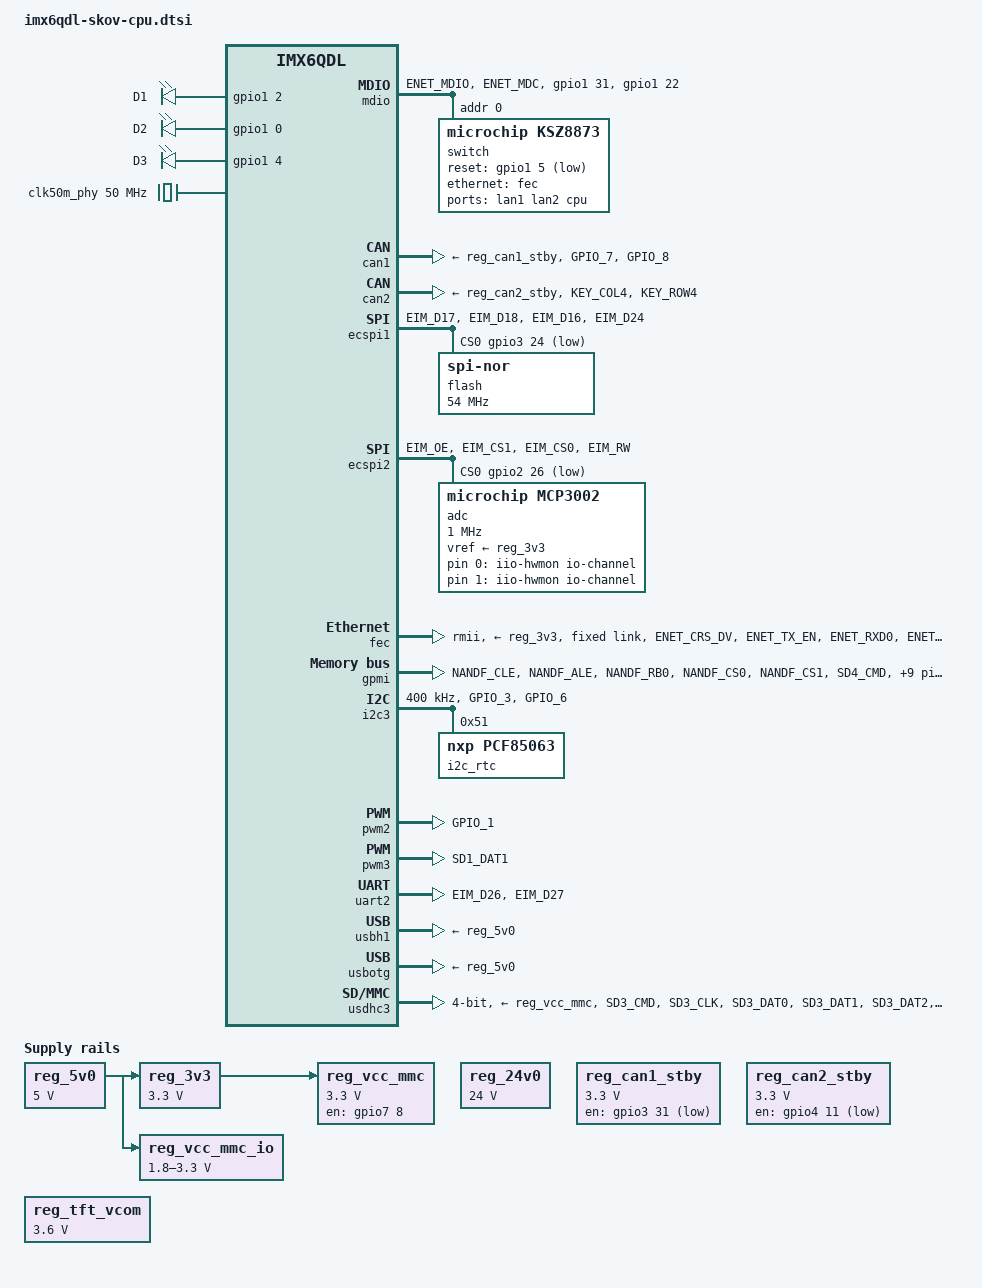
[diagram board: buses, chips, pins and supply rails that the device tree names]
// SPDX-License-Identifier: (GPL-2.0 OR MIT)
//
// Copyright (C) 2020 Pengutronix, Ulrich Oelmann <kernel@pengutronix.de>

#include <dt-bindings/gpio/gpio.h>
#include <dt-bindings/leds/common.h>

/ {
	chosen {
		stdout-path = &uart2;
	};

	aliases {
		can0 = &can1;
		can1 = &can2;
		mdio-gpio0 = &mdio;
		nand = &gpmi;
		rtc0 = &i2c_rtc;
		rtc1 = &snvs;
		usb0 = &usbh1;
		usb1 = &usbotg;
	};

	iio-hwmon {
		compatible = "iio-hwmon";
		io-channels = <&adc 0>, /* 24V */
		              <&adc 1>; /* temperature */
	};

	leds {
		compatible = "gpio-leds";

		led-0 {
			label = "D1";
			gpios = <&gpio1 2 GPIO_ACTIVE_HIGH>;
			function = LED_FUNCTION_STATUS;
			default-state = "on";
			linux,default-trigger = "heartbeat";
		};

		led-1 {
			label = "D2";
			gpios = <&gpio1 0 GPIO_ACTIVE_HIGH>;
			default-state = "off";
		};

		led-2 {
			label = "D3";
			gpios = <&gpio1 4 GPIO_ACTIVE_HIGH>;
			default-state = "on";
		};
	};

	mdio: mdio {
		compatible = "microchip,mdio-smi0";
		pinctrl-names = "default";
		pinctrl-0 = <&pinctrl_mdio>;
		#address-cells = <1>;
		#size-cells = <0>;
		gpios = <&gpio1 31 GPIO_ACTIVE_HIGH>,
			<&gpio1 22 GPIO_ACTIVE_HIGH>;

		switch@0 {
			compatible = "microchip,ksz8873";
			pinctrl-names = "default";
			pinctrl-0 = <&pinctrl_switch>;
			interrupt-parent = <&gpio3>;
			interrupt = <30 IRQ_TYPE_LEVEL_HIGH>;
			reset-gpios = <&gpio1 5 GPIO_ACTIVE_LOW>;
			reg = <0>;

			ports {
				#address-cells = <1>;
				#size-cells = <0>;

				ports@0 {
					reg = <0>;
					phy-mode = "internal";
					label = "lan1";
				};

				ports@1 {
					reg = <1>;
					phy-mode = "internal";
					label = "lan2";
				};

				ports@2 {
					reg = <2>;
					label = "cpu";
					ethernet = <&fec>;
					phy-mode = "rmii";

					fixed-link {
						speed = <100>;
						full-duplex;
					};
				};
			};
		};

	};

	clk50m_phy: phy-clock {
		compatible = "fixed-clock";
		#clock-cells = <0>;
		clock-frequency = <50000000>;
		clock-output-names = "enet_ref_pad";
	};

	reg_3v3: regulator-3v3 {
		compatible = "regulator-fixed";
		vin-supply = <&reg_5v0>;
		regulator-name = "3v3";
		regulator-min-microvolt = <3300000>;
		regulator-max-microvolt = <3300000>;
	};

	reg_5v0: regulator-5v0 {
		compatible = "regulator-fixed";
		regulator-name = "5v0";
		regulator-min-microvolt = <5000000>;
		regulator-max-microvolt = <5000000>;
	};

	reg_24v0: regulator-24v0 {
		compatible = "regulator-fixed";
		regulator-name = "24v0";
		regulator-min-microvolt = <24000000>;
		regulator-max-microvolt = <24000000>;
	};

	reg_can1_stby: regulator-can1-stby {
		compatible = "regulator-fixed";
		pinctrl-names = "default";
		pinctrl-0 = <&pinctrl_can1_stby>;
		regulator-name = "can1-3v3";
		regulator-min-microvolt = <3300000>;
		regulator-max-microvolt = <3300000>;
		gpio = <&gpio3 31 GPIO_ACTIVE_LOW>;
	};

	reg_can2_stby: regulator-can2-stby {
		compatible = "regulator-fixed";
		pinctrl-names = "default";
		pinctrl-0 = <&pinctrl_can2_stby>;
		regulator-name = "can2-3v3";
		regulator-min-microvolt = <3300000>;
		regulator-max-microvolt = <3300000>;
		gpio = <&gpio4 11 GPIO_ACTIVE_LOW>;
	};

	reg_tft_vcom: regulator-tft-vcom {
		compatible = "pwm-regulator";
		pwms = <&pwm3 0 20000 0>;
		regulator-name = "tft_vcom";
		regulator-min-microvolt = <3600000>;
		regulator-max-microvolt = <3600000>;
		regulator-always-on;
		voltage-table = <3600000 26>;
	};

	reg_vcc_mmc: regulator-vcc-mmc {
		compatible = "regulator-fixed";
		pinctrl-names = "default";
		pinctrl-0 = <&pinctrl_vcc_mmc>;
		vin-supply = <&reg_3v3>;
		regulator-name = "mmc_vcc_supply";
		regulator-min-microvolt = <3300000>;
		regulator-max-microvolt = <3300000>;
		regulator-always-on;
		regulator-boot-on;
		gpio = <&gpio7 8 GPIO_ACTIVE_HIGH>;
		enable-active-high;
		startup-delay-us = <100>;
	};

	reg_vcc_mmc_io: regulator-vcc-mmc-io {
		compatible = "regulator-gpio";
		pinctrl-names = "default";
		pinctrl-0 = <&pinctrl_vcc_mmc_io>;
		vin-supply = <&reg_5v0>;
		regulator-name = "mmc_io_supply";
		regulator-type = "voltage";
		regulator-min-microvolt = <1800000>;
		regulator-max-microvolt = <3300000>;
		gpios = <&gpio7 13 GPIO_ACTIVE_HIGH>;
		enable-active-high;
		states = <1800000 0x1>, <3300000 0x0>;
		startup-delay-us = <100>;
	};
};

&can1 {
	pinctrl-names = "default";
	pinctrl-0 = <&pinctrl_can1>;
	xceiver-supply = <&reg_can1_stby>;
	status = "okay";
};

&can2 {
	pinctrl-names = "default";
	pinctrl-0 = <&pinctrl_can2>;
	xceiver-supply = <&reg_can2_stby>;
	status = "okay";
};

&ecspi1 {
	pinctrl-names = "default";
	pinctrl-0 = <&pinctrl_ecspi1>;
	cs-gpios = <&gpio3 24 GPIO_ACTIVE_LOW>;
	status = "okay";

	flash@0 {
		compatible = "jedec,spi-nor";
		spi-max-frequency = <54000000>;
		reg = <0>;
	};
};

&ecspi2 {
	pinctrl-names = "default";
	pinctrl-0 = <&pinctrl_ecspi2>;
	cs-gpios = <&gpio2 26 GPIO_ACTIVE_LOW>;
	status = "okay";

	adc: adc@0 {
		compatible = "microchip,mcp3002";
		reg = <0>;
		vref-supply = <&reg_3v3>;
		spi-max-frequency = <1000000>;
		#io-channel-cells = <1>;
	};
};

&clks {
	clocks = <&clk50m_phy>;
	clock-names = "enet_ref_pad";
	assigned-clocks = <&clks IMX6QDL_CLK_ENET_REF_SEL>;
	assigned-clock-parents = <&clk50m_phy>;
};

&fec {
	pinctrl-names = "default";
	pinctrl-0 = <&pinctrl_enet>;
	phy-mode = "rmii";
	phy-supply = <&reg_3v3>;
	status = "okay";

	fixed-link {
		speed = <100>;
		full-duplex;
	};
};

&gpmi {
	pinctrl-names = "default";
	pinctrl-0 = <&pinctrl_gpmi_nand>;
	nand-on-flash-bbt;
	#address-cells = <1>;
	#size-cells = <0>;
	status = "okay";
};

&i2c3 {
	pinctrl-names = "default";
	pinctrl-0 = <&pinctrl_i2c3>;
	clock-frequency = <400000>;
	status = "okay";

	i2c_rtc: rtc@51 {
		compatible = "nxp,pcf85063";
		reg = <0x51>;
		quartz-load-femtofarads = <12500>;
	};
};

&pwm2 {
	pinctrl-names = "default";
	pinctrl-0 = <&pinctrl_pwm2>;
	#pwm-cells = <2>;
	status = "okay";
};

&pwm3 {
	/* used for LCD contrast control */
	pinctrl-names = "default";
	pinctrl-0 = <&pinctrl_pwm3>;
	status = "okay";
};

&uart2 {
	pinctrl-names = "default";
	pinctrl-0 = <&pinctrl_uart2>;
	status = "okay";
};

&usbh1 {
	vbus-supply = <&reg_5v0>;
	disable-over-current;
	status = "okay";
};

/* no usbh2 */
&usbphynop1 {
	status = "disabled";
};

/* no usbh3 */
&usbphynop2 {
	status = "disabled";
};

&usbotg {
	vbus-supply = <&reg_5v0>;
	disable-over-current;
	status = "okay";
};

&usdhc3 {
	pinctrl-names = "default";
	pinctrl-0 = <&pinctrl_usdhc3>;
	wp-gpios = <&gpio7 1 GPIO_ACTIVE_HIGH>;
	cd-gpios = <&gpio7 0 GPIO_ACTIVE_LOW>;
	cap-power-off-card;
	full-pwr-cycle;
	bus-width = <4>;
	max-frequency = <50000000>;
	cap-sd-highspeed;
	sd-uhs-sdr12;
	sd-uhs-sdr25;
	sd-uhs-sdr50;
	sd-uhs-ddr50;
	mmc-ddr-1_8v;
	vmmc-supply = <&reg_vcc_mmc>;
	vqmmc-supply = <&reg_vcc_mmc_io>;
	status = "okay";
};

&iomuxc {
	pinctrl_can1: can1grp {
		fsl,pins = <
			MX6QDL_PAD_GPIO_7__FLEXCAN1_TX			0x3008
			MX6QDL_PAD_GPIO_8__FLEXCAN1_RX			0x1b000
		>;
	};

	pinctrl_can1_stby: can1stbygrp {
		fsl,pins = <
			MX6QDL_PAD_EIM_D31__GPIO3_IO31			0x13008
		>;
	};

	pinctrl_can2: can2grp {
		fsl,pins = <
			MX6QDL_PAD_KEY_COL4__FLEXCAN2_TX		0x3008
			MX6QDL_PAD_KEY_ROW4__FLEXCAN2_RX		0x1b000
		>;
	};

	pinctrl_can2_stby: can2stbygrp {
		fsl,pins = <
			MX6QDL_PAD_KEY_ROW2__GPIO4_IO11			0x13008
		>;
	};

	pinctrl_ecspi1: ecspi1grp {
		fsl,pins = <
			MX6QDL_PAD_EIM_D17__ECSPI1_MISO			0x100b1
			MX6QDL_PAD_EIM_D18__ECSPI1_MOSI			0xb1
			MX6QDL_PAD_EIM_D16__ECSPI1_SCLK			0xb1
			/* *no* external pull up */
			MX6QDL_PAD_EIM_D24__GPIO3_IO24			0x58
		>;
	};

	pinctrl_ecspi2: ecspi2grp {
		fsl,pins = <
			MX6QDL_PAD_EIM_OE__ECSPI2_MISO			0x100b1
			MX6QDL_PAD_EIM_CS1__ECSPI2_MOSI			0xb1
			MX6QDL_PAD_EIM_CS0__ECSPI2_SCLK			0xb1
			/* external pull up */
			MX6QDL_PAD_EIM_RW__GPIO2_IO26			0x58
		>;
	};

	pinctrl_enet: enetgrp {
		fsl,pins = <
			/* RMII 50 MHz */
			MX6QDL_PAD_ENET_CRS_DV__ENET_RX_EN		0x100f5
			MX6QDL_PAD_ENET_TX_EN__ENET_TX_EN		0x100f5
			MX6QDL_PAD_ENET_RXD0__ENET_RX_DATA0		0x100c0
			MX6QDL_PAD_ENET_RXD1__ENET_RX_DATA1		0x100c0
			MX6QDL_PAD_ENET_TXD0__ENET_TX_DATA0		0x100f5
			MX6QDL_PAD_ENET_TXD1__ENET_TX_DATA1		0x100f5
			MX6QDL_PAD_GPIO_16__ENET_REF_CLK		0x1b0b0
			MX6QDL_PAD_GPIO_5__GPIO1_IO05			0x58
			/* GPIO for "link active" */
			MX6QDL_PAD_ENET_RX_ER__GPIO1_IO24		0x3038
		>;
	};

	pinctrl_gpmi_nand: gpminandgrp {
		fsl,pins = <
			MX6QDL_PAD_NANDF_CLE__NAND_CLE			0xb0b1
			MX6QDL_PAD_NANDF_ALE__NAND_ALE			0xb0b1
			MX6QDL_PAD_NANDF_RB0__NAND_READY_B		0xb000
			MX6QDL_PAD_NANDF_CS0__NAND_CE0_B		0xb0b1
			MX6QDL_PAD_NANDF_CS1__NAND_CE1_B		0xb0b1
			MX6QDL_PAD_SD4_CMD__NAND_RE_B			0xb0b1
			MX6QDL_PAD_SD4_CLK__NAND_WE_B			0xb0b1
			MX6QDL_PAD_NANDF_D0__NAND_DATA00		0xb0b1
			MX6QDL_PAD_NANDF_D1__NAND_DATA01		0xb0b1
			MX6QDL_PAD_NANDF_D2__NAND_DATA02		0xb0b1
			MX6QDL_PAD_NANDF_D3__NAND_DATA03		0xb0b1
			MX6QDL_PAD_NANDF_D4__NAND_DATA04		0xb0b1
			MX6QDL_PAD_NANDF_D5__NAND_DATA05		0xb0b1
			MX6QDL_PAD_NANDF_D6__NAND_DATA06		0xb0b1
			MX6QDL_PAD_NANDF_D7__NAND_DATA07		0xb0b1
		>;
	};

	pinctrl_i2c3: i2c3grp {
		fsl,pins = <
			/* external 10 k pull up */
			MX6QDL_PAD_GPIO_3__I2C3_SCL		0x40010878
			/* external 10 k pull up */
			MX6QDL_PAD_GPIO_6__I2C3_SDA		0x40010878
		>;
	};

	pinctrl_mdio: mdiogrp {
		fsl,pins = <
			MX6QDL_PAD_ENET_MDIO__GPIO1_IO22		0x100b1
			MX6QDL_PAD_ENET_MDC__GPIO1_IO31			0xb1
		>;
	};

	pinctrl_pwm2: pwm2grp {
		fsl,pins = <
			MX6QDL_PAD_GPIO_1__PWM2_OUT			0x58
		>;
	};

	pinctrl_pwm3: pwm3grp {
		fsl,pins = <
			MX6QDL_PAD_SD1_DAT1__PWM3_OUT			0x58
		>;
	};

	pinctrl_switch: switchgrp {
		fsl,pins = <
			MX6QDL_PAD_EIM_D30__GPIO3_IO30			0xb0
		>;
	};

	pinctrl_uart2: uart2grp {
		fsl,pins = <
			MX6QDL_PAD_EIM_D26__UART2_TX_DATA		0x1b0b1
			MX6QDL_PAD_EIM_D27__UART2_RX_DATA		0x1b0b1
		>;
	};

	pinctrl_usdhc3: usdhc3grp {
		fsl,pins = <
			/* SoC internal pull up required */
			MX6QDL_PAD_SD3_CMD__SD3_CMD			0x17059
			MX6QDL_PAD_SD3_CLK__SD3_CLK			0x10059
			MX6QDL_PAD_SD3_DAT0__SD3_DATA0			0x17059
			MX6QDL_PAD_SD3_DAT1__SD3_DATA1			0x17059
			MX6QDL_PAD_SD3_DAT2__SD3_DATA2			0x17059
			MX6QDL_PAD_SD3_DAT3__SD3_DATA3			0x17059
			/* SoC internal pull up required */
			MX6QDL_PAD_SD3_DAT4__GPIO7_IO01			0x1b040
			/* SoC internal pull up required */
			MX6QDL_PAD_SD3_DAT5__GPIO7_IO00			0x1b040
		>;
	};

	pinctrl_vcc_mmc: vccmmcgrp {
		fsl,pins = <
			MX6QDL_PAD_SD3_RST__GPIO7_IO08			0x58
		>;
	};

	pinctrl_vcc_mmc_io: vccmmciogrp {
		fsl,pins = <
			MX6QDL_PAD_GPIO_18__GPIO7_IO13			0x58
		>;
	};
};
